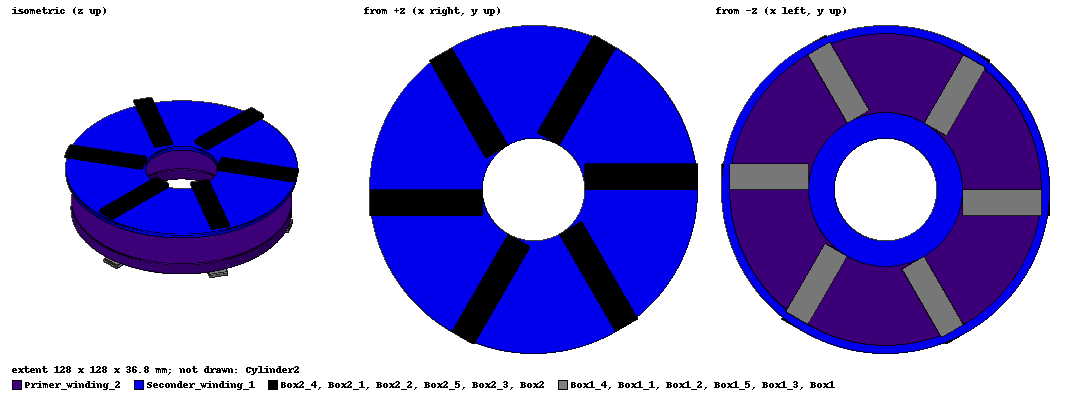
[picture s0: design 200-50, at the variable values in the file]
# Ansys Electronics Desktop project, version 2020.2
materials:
  vacuum: permittivity=1
  copper: permeability=0.999991 conductivity=58000000
  ferrite: permittivity=12 permeability=1000 conductivity=0.01

design 200-50 (Maxwell 3D, Magnetostatic, model units mm)
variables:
  airgap = 20mm
  r_inner_primer_winding = 30mm
  ch = 2.2mm
  layer_primer = 3
  Np = 42
  r_outer_primer_winding = r_inner_primer_winding+( (Np/layer_primer)*ch)
  f2p = 2mm
  ferrite_pos_primer = r_inner_primer_winding
  ferrite_length_primer = (Np/layer_primer)*ch
  ferrite_height_primer = 2mm
  ferrite_width_primer = 10mm
  N_ferrite_p = 6
  Ip = 5A
  r_outer_air = 100mm
  height_air = 200mm
  r_inner_seconder_winding = 20mm
  layer_seconder = 1
  Ns = 20
  r_outer_seconder_winding = r_inner_seconder_winding+((Ns/layer_seconder)*ch)
  f2s = 2mm
  ferrite_pos_seconder = r_inner_seconder_winding
  ferrite_width_seconder = ferrite_width_primer
  ferrite_length_seconder = (Ns/layer_seconder)*ch
  ferrite_height_seconder = ferrite_height_primer
  Is = 6A
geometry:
  coordinate_system primer_winding = origin=(0mm, 0mm, -airgap/2) x=(1mm, 0mm, 0mm) y=(0mm, 1mm, 0mm)
  Cylinder1 = cylinder(axis=Z, base_centre=(0mm, 0mm, 0mm), radius=r_inner_primer_winding, height=-ch*layer_primer) in primer_winding
  Primer_winding_2 [copper] = cylinder(axis=Z, base_centre=(0mm, 0mm, 0mm), radius=r_outer_primer_winding, height=-ch*layer_primer) in primer_winding
  Primer_winding_2.subtract(Cylinder1)
  coordinate_system primer_ferrite = origin=(0mm, 0mm, -ch*layer_primer-f2p) x=(1mm, 0mm, 0mm) y=(0mm, 1mm, 0mm) in primer_winding
  Box1 [ferrite] = box(corner=(ferrite_pos_primer, 0mm, 0mm), size=(ferrite_length_primer, ferrite_width_primer, -ferrite_height_primer)) in primer_ferrite
  Box1_1..Box1_5 [ferrite] = Box1.duplicate_around_axis(axis=Z, angle=60deg, total=6) in primer_ferrite
  Primer_current [copper] = Primer_winding_2.section(plane=ZX) in primer_ferrite
  Primer_current.separate_bodies()
  Cylinder2 [vacuum] = cylinder(axis=Z, base_centre=(0mm, 0mm, -height_air/2), radius=r_outer_air, height=height_air)
  coordinate_system Seconder_winding = origin=(0mm, 0mm, airgap/2) x=(1mm, 0mm, 0mm) y=(0mm, 1mm, 0mm)
  Cylinder3 = cylinder(axis=Z, base_centre=(0mm, 0mm, 0mm), radius=r_inner_seconder_winding, height=ch*layer_seconder) in Seconder_winding
  Seconder_winding_1 [copper] = cylinder(axis=Z, base_centre=(0mm, 0mm, 0mm), radius=r_outer_seconder_winding, height=ch*layer_seconder) in Seconder_winding
  Seconder_winding_1.subtract(Cylinder3)
  coordinate_system seconder_ferrite = origin=(0mm, 0mm, ch*layer_seconder+f2s) x=(1mm, 0mm, 0mm) y=(0mm, 1mm, 0mm) in Seconder_winding
  Box2 [ferrite] = box(corner=(ferrite_pos_seconder, 0mm, 0mm), size=(ferrite_length_seconder, ferrite_width_seconder, ferrite_height_seconder)) in seconder_ferrite
  Box2_1..Box2_5 [ferrite] = Box2.duplicate_around_axis(axis=Z, angle=60deg, total=6) in seconder_ferrite
  Seconder_current [copper] = Seconder_winding_1.section(plane=ZX) in Seconder_winding
  Seconder_current.separate_bodies()
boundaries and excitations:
  Insulating_primer: Insulating Objects=Primer_winding_2
  ZeroTangentialHField1: Zero Tangential H Field Faces=Cylinder2.face(all 3)
  Insulating_secondary: Insulating Faces=Seconder_winding_1.face(3 of 3)
  Primer_current: Current Objects=Primer_current Current=Ip IsSolid=false Point_out_of_terminal=false
  Secondary_current: Current Objects=Seconder_current Current=Is IsSolid=false Point_out_of_terminal=false
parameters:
  Matrix1: Matrix Primer_current: NumberOfTurns=Np; Secondary_current: NumberOfTurns=Ns
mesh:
  initial mesh: GlobalCurvilinear{Apply}
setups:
  Setup1: Magnetostatic MaximumPasses=10 MinimumPasses=2 MinimumConvergedPasses=1 PercentRefinement=30 PercentError=1 NonLinearResidual=0.001
